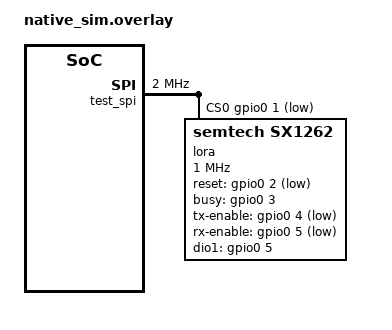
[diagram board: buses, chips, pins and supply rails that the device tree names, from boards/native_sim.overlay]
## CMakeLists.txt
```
# SPDX-FileCopyrightText: Copyright (c) 2026 RAKwireless
# SPDX-License-Identifier: Apache-2.0

cmake_minimum_required(VERSION 3.20.0)
find_package(Zephyr REQUIRED HINTS $ENV{ZEPHYR_BASE})
project(rzi_lorawan_backend_zephyr)

target_include_directories(app PRIVATE ${CMAKE_CURRENT_SOURCE_DIR}/../../../../src/lorawan)
target_sources(app PRIVATE src/main.c)
```

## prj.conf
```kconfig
# SPDX-FileCopyrightText: Copyright (c) 2026 RAKwireless
# SPDX-License-Identifier: Apache-2.0

CONFIG_ZTEST=y
CONFIG_FLASH=y
CONFIG_MAIN_STACK_SIZE=2048
CONFIG_SYSTEM_WORKQUEUE_STACK_SIZE=2048
CONFIG_THREAD_NAME=y
CONFIG_ENTROPY_GENERATOR=y

CONFIG_LORA=y
CONFIG_LORA_MODULE_BACKEND_LORAMAC_NODE=y
CONFIG_LORAWAN=y
CONFIG_LORAWAN_EMUL=y
CONFIG_LORAWAN_REGION_EU868=y
CONFIG_LORA_LOG_LEVEL_OFF=y

CONFIG_RZI=y
CONFIG_RZI_LORAWAN=y
CONFIG_RZI_LORAWAN_BACKEND_ZEPHYR=y
CONFIG_RZI_LORAWAN_MAX_CALLBACKS=1
```

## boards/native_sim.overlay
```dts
/*
 * SPDX-FileCopyrightText: Copyright (c) 2026 RAKwireless
 * SPDX-License-Identifier: Apache-2.0
 *
 * Fake LoRa PHY required to link the Zephyr LoRaWAN stack on native_sim.
 */

#include <zephyr/dt-bindings/lora/sx126x.h>

/ {
	aliases {
		lora0 = &lora;
	};

	test {
		#address-cells = <1>;
		#size-cells = <1>;

		test_spi: spi@33334444 {
			#address-cells = <1>;
			#size-cells = <0>;
			compatible = "vnd,spi";
			reg = <0x33334444 0x1000>;
			status = "okay";
			clock-frequency = <2000000>;

			cs-gpios = <&gpio0 1 GPIO_ACTIVE_LOW>;

			lora: lora@0 {
				compatible = "semtech,sx1262";
				status = "okay";
				reg = <0>;
				reset-gpios = <&gpio0 2 GPIO_ACTIVE_LOW>;
				busy-gpios = <&gpio0 3 GPIO_ACTIVE_HIGH>;
				tx-enable-gpios = <&gpio0 4 GPIO_ACTIVE_LOW>;
				rx-enable-gpios = <&gpio0 5 GPIO_ACTIVE_LOW>;
				dio1-gpios = <&gpio0 5 GPIO_ACTIVE_HIGH>;
				dio2-tx-enable;
				dio3-tcxo-voltage = <SX126X_DIO3_TCXO_3V3>;
				tcxo-power-startup-delay-ms = <5>;
				spi-max-frequency = <1000000>;
			};
		};
	};
};
```

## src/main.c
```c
/* SPDX-FileCopyrightText: Copyright (c) 2026 RAKwireless */
/* SPDX-License-Identifier: Apache-2.0 */

#include <errno.h>
#include <string.h>

#include <zephyr/kernel.h>
#include <zephyr/lorawan/emul.h>
#include <zephyr/sys/atomic.h>
#include <zephyr/ztest.h>

#include <rzi/lorawan/lorawan.h>

#include "backend/lorawan_backend.h"

K_SEM_DEFINE(callback_sem, 0, 8);

struct callback_stats {
	atomic_t ready;
	atomic_t joined;
	atomic_t join_status;
	atomic_t uplink;
	atomic_t downlink;
	atomic_t payload_valid;
};

static uint8_t last_uplink_port;
static uint8_t last_uplink_len;
static uint8_t last_uplink[RZI_LORAWAN_MAX_PAYLOAD];

static void on_emul_uplink(uint8_t port, uint8_t len, const uint8_t *data)
{
	last_uplink_port = port;
	last_uplink_len = len;
	if (data != NULL && len > 0U) {
		memcpy(last_uplink, data, len);
	}
}

static void on_event(const struct rzi_lorawan_event *event, void *user_data)
{
	struct callback_stats *stats = user_data;

	switch (event->type) {
	case RZI_LORAWAN_EVENT_READY:
		atomic_inc(&stats->ready);
		k_sem_give(&callback_sem);
		break;
	case RZI_LORAWAN_EVENT_JOINED:
		atomic_set(&stats->join_status, 0);
		atomic_inc(&stats->joined);
		k_sem_give(&callback_sem);
		break;
	case RZI_LORAWAN_EVENT_JOIN_FAILED:
		atomic_set(&stats->join_status, event->error);
		k_sem_give(&callback_sem);
		break;
	case RZI_LORAWAN_EVENT_TXDONE:
		zassert_equal(event->tx.status, RZI_LORAWAN_EVENT_TXDONE_SENT);
		zassert_ok(event->tx.error);
		atomic_inc(&stats->uplink);
		k_sem_give(&callback_sem);
		break;
	case RZI_LORAWAN_EVENT_DOWNDATA:
		if (event->downlink.port == 3 && event->downlink.size == 2 &&
		    event->downlink.data[0] == 0xab && event->downlink.data[1] == 0xcd) {
			atomic_set(&stats->payload_valid, 1);
		}
		atomic_inc(&stats->downlink);
		k_sem_give(&callback_sem);
		break;
	default:
		break;
	}
}

static void wait_for_callbacks(unsigned int count)
{
	for (unsigned int i = 0; i < count; ++i) {
		zassert_ok(k_sem_take(&callback_sem, K_SECONDS(2)));
	}
}

ZTEST(rzi_lorawan_backend_zephyr, test_async_contract_over_blocking_api)
{
	struct callback_stats stats = {0};
	const struct rzi_lorawan_callbacks callbacks = {
		.on_event = on_event,
		.user_data = &stats,
	};
	static const uint8_t dev_eui[] = {0x00, 0x01, 0x02, 0x03, 0x04, 0x05, 0x06, 0x07};
	static const uint8_t join_eui[8] = {0};
	static const uint8_t app_key[16] = {0x11};
	const uint8_t payload[] = {0x12, 0x34};
	const uint8_t downlink[] = {0xab, 0xcd};
	bool joined = false;
	uint32_t caps;

	lorawan_emul_register_uplink_callback(on_emul_uplink);
	zassert_ok(rzi_lorawan_register_callbacks(&callbacks));
	zassert_ok(rzi_lorawan_set_join_backoff_bypass(true));

	caps = rzi_lorawan_get_capabilities();
	zassert_true((caps & RZI_LORAWAN_CAP_OTAA) != 0U);
	zassert_true((caps & RZI_LORAWAN_CAP_ABP) != 0U);
	zassert_true((caps & RZI_LORAWAN_CAP_CLASS_A) != 0U);
	zassert_true((caps & RZI_LORAWAN_CAP_CLASS_C) != 0U);
	zassert_true((caps & RZI_LORAWAN_CAP_CLASS_B) == 0U);

	{
		uint32_t remaining_s = 123;

		zassert_equal(rzi_lorawan_get_join_backoff(&remaining_s), -RZI_ERR_NOT_READY);
		zassert_equal(remaining_s, 123U);
	}
	zassert_ok(rzi_lorawan_init(RZI_LORAWAN_REGION_EU_868));
	wait_for_callbacks(1);
	zassert_equal(atomic_get(&stats.ready), 1);
	{
		uint32_t remaining_s = 123;

		zassert_equal(rzi_lorawan_get_join_backoff(NULL), -RZI_ERR_INVALID);
		zassert_equal(rzi_lorawan_get_join_backoff(&remaining_s), -RZI_ERR_NOT_SUPPORTED);
		zassert_equal(remaining_s, 123U);
	}

	{
		uint32_t dev_addr = 1U;
		uint8_t stored[16];
		uint8_t key[16];
		uint8_t zeros[16] = {0};

		memset(stored, 0xab, sizeof(stored));
		zassert_ok(rzi_lorawan_set_activation(RZI_LORAWAN_ACTIVATION_ABP));
		zassert_ok(rzi_lorawan_set_dev_addr(0x01020304U));
		zassert_ok(rzi_lorawan_set_nwk_skey(stored, sizeof(stored)));
		zassert_ok(rzi_lorawan_set_app_skey(stored, sizeof(stored)));
		zassert_ok(rzi_lorawan_get_dev_addr(&dev_addr));
		zassert_equal(dev_addr, 0x01020304U);
		zassert_ok(rzi_lorawan_get_nwk_skey(key, sizeof(key)));
		zassert_mem_equal(key, stored, sizeof(stored));
		zassert_ok(rzi_lorawan_get_app_skey(key, sizeof(key)));
		zassert_mem_equal(key, stored, sizeof(stored));

		zassert_ok(rzi_lorawan_set_activation(RZI_LORAWAN_ACTIVATION_OTAA));
		zassert_ok(rzi_lorawan_get_dev_addr(&dev_addr));
		zassert_equal(dev_addr, 0U);
		zassert_ok(rzi_lorawan_get_nwk_skey(key, sizeof(key)));
		zassert_mem_equal(key, zeros, sizeof(zeros));
		zassert_ok(rzi_lorawan_get_app_skey(key, sizeof(key)));
		zassert_mem_equal(key, zeros, sizeof(zeros));
	}

	zassert_ok(rzi_lorawan_set_dev_eui(dev_eui, sizeof(dev_eui)));
	zassert_ok(rzi_lorawan_set_app_eui(join_eui, sizeof(join_eui)));
	zassert_ok(rzi_lorawan_set_app_key(app_key, sizeof(app_key)));
	zassert_ok(rzi_lorawan_set_dev_nonce(7));
	zassert_ok(rzi_lorawan_join(1, 0, RZI_LORAWAN_JOIN_INTERVAL_DEFAULT, 0));
	wait_for_callbacks(1);
	zassert_equal(atomic_get(&stats.joined), 1);
	zassert_equal(atomic_get(&stats.join_status), 0);
	zassert_ok(rzi_lorawan_is_joined(&joined));
	zassert_true(joined);
	{
		uint32_t dev_addr = 1U;

		/* The emulator join does not run LoRaMac, so the address stays 0. */
		zassert_ok(rzi_lorawan_get_dev_addr(&dev_addr));
		zassert_equal(dev_addr, 0U);
	}

	zassert_ok(rzi_lorawan_send(10, payload, sizeof(payload), RZI_LORAWAN_MSG_UNCONFIRMED));
	wait_for_callbacks(1);
	zassert_equal(atomic_get(&stats.uplink), 1);
	zassert_equal(last_uplink_port, 10);
	zassert_equal(last_uplink_len, sizeof(payload));
	zassert_mem_equal(last_uplink, payload, sizeof(payload));

	lorawan_emul_send_downlink(3, false, -80, 6, sizeof(downlink), downlink);
	wait_for_callbacks(1);
	zassert_equal(atomic_get(&stats.downlink), 1);
	zassert_true(atomic_get(&stats.payload_valid));

	zassert_ok(rzi_lorawan_set_class(RZI_LORAWAN_CLASS_A));
	zassert_ok(rzi_lorawan_set_class(RZI_LORAWAN_CLASS_C));
	zassert_equal(rzi_lorawan_set_class(RZI_LORAWAN_CLASS_B), -RZI_ERR_NOT_SUPPORTED);
	zassert_equal(rzi_lorawan_leave(), -RZI_ERR_NOT_SUPPORTED);
	zassert_ok(rzi_lorawan_unregister_callbacks(&callbacks));
}

ZTEST_SUITE(rzi_lorawan_backend_zephyr, NULL, NULL, NULL, NULL, NULL);
```
